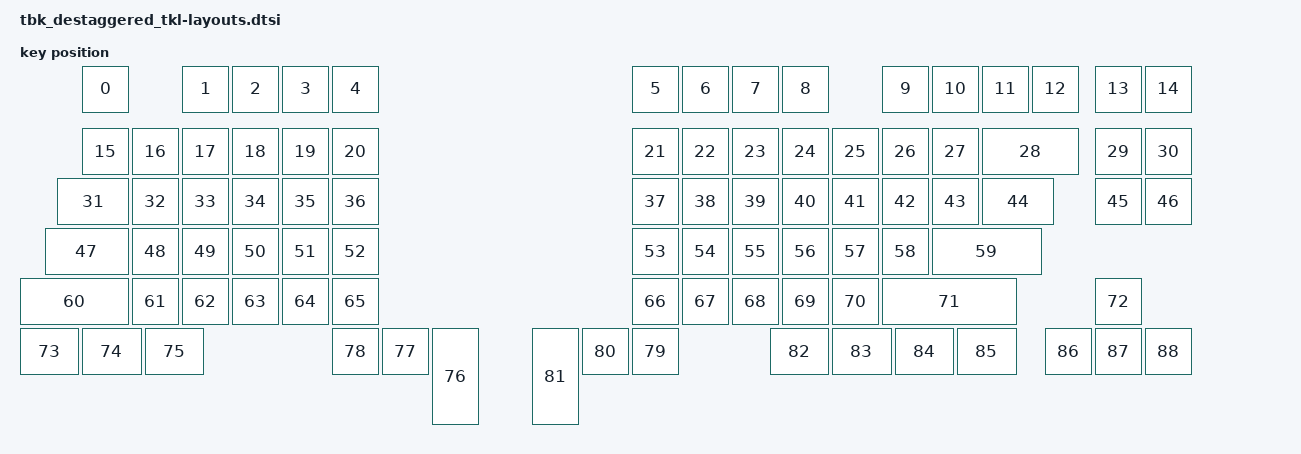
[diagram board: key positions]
#include <physical_layouts.dtsi>

/ {
    physical_layout0: physical_layout_0 {
        compatible = "zmk,physical-layout";
        display-name = "LAYOUT";

        kscan = <&kscan0>;
        transform = <&matrix_transform0>;

        keys  //                     w   h    x    y     rot    rx    ry
            = <&key_physical_attrs 100 100  125    0       0     0     0>
            , <&key_physical_attrs 100 100  325    0       0     0     0>
            , <&key_physical_attrs 100 100  425    0       0     0     0>
            , <&key_physical_attrs 100 100  525    0       0     0     0>
            , <&key_physical_attrs 100 100  625    0       0     0     0>
            , <&key_physical_attrs 100 100 1225    0       0     0     0>
            , <&key_physical_attrs 100 100 1325    0       0     0     0>
            , <&key_physical_attrs 100 100 1425    0       0     0     0>
            , <&key_physical_attrs 100 100 1525    0       0     0     0>
            , <&key_physical_attrs 100 100 1725    0       0     0     0>
            , <&key_physical_attrs 100 100 1825    0       0     0     0>
            , <&key_physical_attrs 100 100 1925    0       0     0     0>
            , <&key_physical_attrs 100 100 2025    0       0     0     0>
            , <&key_physical_attrs 100 100 2150    0       0     0     0>
            , <&key_physical_attrs 100 100 2250    0       0     0     0>
            , <&key_physical_attrs 100 100  125  125       0     0     0>
            , <&key_physical_attrs 100 100  225  125       0     0     0>
            , <&key_physical_attrs 100 100  325  125       0     0     0>
            , <&key_physical_attrs 100 100  425  125       0     0     0>
            , <&key_physical_attrs 100 100  525  125       0     0     0>
            , <&key_physical_attrs 100 100  625  125       0     0     0>
            , <&key_physical_attrs 100 100 1225  125       0     0     0>
            , <&key_physical_attrs 100 100 1325  125       0     0     0>
            , <&key_physical_attrs 100 100 1425  125       0     0     0>
            , <&key_physical_attrs 100 100 1525  125       0     0     0>
            , <&key_physical_attrs 100 100 1625  125       0     0     0>
            , <&key_physical_attrs 100 100 1725  125       0     0     0>
            , <&key_physical_attrs 100 100 1825  125       0     0     0>
            , <&key_physical_attrs 200 100 1925  125       0     0     0>
            , <&key_physical_attrs 100 100 2150  125       0     0     0>
            , <&key_physical_attrs 100 100 2250  125       0     0     0>
            , <&key_physical_attrs 150 100   75  225       0     0     0>
            , <&key_physical_attrs 100 100  225  225       0     0     0>
            , <&key_physical_attrs 100 100  325  225       0     0     0>
            , <&key_physical_attrs 100 100  425  225       0     0     0>
            , <&key_physical_attrs 100 100  525  225       0     0     0>
            , <&key_physical_attrs 100 100  625  225       0     0     0>
            , <&key_physical_attrs 100 100 1225  225       0     0     0>
            , <&key_physical_attrs 100 100 1325  225       0     0     0>
            , <&key_physical_attrs 100 100 1425  225       0     0     0>
            , <&key_physical_attrs 100 100 1525  225       0     0     0>
            , <&key_physical_attrs 100 100 1625  225       0     0     0>
            , <&key_physical_attrs 100 100 1725  225       0     0     0>
            , <&key_physical_attrs 100 100 1825  225       0     0     0>
            , <&key_physical_attrs 150 100 1925  225       0     0     0>
            , <&key_physical_attrs 100 100 2150  225       0     0     0>
            , <&key_physical_attrs 100 100 2250  225       0     0     0>
            , <&key_physical_attrs 175 100   50  325       0     0     0>
            , <&key_physical_attrs 100 100  225  325       0     0     0>
            , <&key_physical_attrs 100 100  325  325       0     0     0>
            , <&key_physical_attrs 100 100  425  325       0     0     0>
            , <&key_physical_attrs 100 100  525  325       0     0     0>
            , <&key_physical_attrs 100 100  625  325       0     0     0>
            , <&key_physical_attrs 100 100 1225  325       0     0     0>
            , <&key_physical_attrs 100 100 1325  325       0     0     0>
            , <&key_physical_attrs 100 100 1425  325       0     0     0>
            , <&key_physical_attrs 100 100 1525  325       0     0     0>
            , <&key_physical_attrs 100 100 1625  325       0     0     0>
            , <&key_physical_attrs 100 100 1725  325       0     0     0>
            , <&key_physical_attrs 225 100 1825  325       0     0     0>
            , <&key_physical_attrs 225 100    0  425       0     0     0>
            , <&key_physical_attrs 100 100  225  425       0     0     0>
            , <&key_physical_attrs 100 100  325  425       0     0     0>
            , <&key_physical_attrs 100 100  425  425       0     0     0>
            , <&key_physical_attrs 100 100  525  425       0     0     0>
            , <&key_physical_attrs 100 100  625  425       0     0     0>
            , <&key_physical_attrs 100 100 1225  425       0     0     0>
            , <&key_physical_attrs 100 100 1325  425       0     0     0>
            , <&key_physical_attrs 100 100 1425  425       0     0     0>
            , <&key_physical_attrs 100 100 1525  425       0     0     0>
            , <&key_physical_attrs 100 100 1625  425       0     0     0>
            , <&key_physical_attrs 275 100 1725  425       0     0     0>
            , <&key_physical_attrs 100 100 2150  425       0     0     0>
            , <&key_physical_attrs 125 100    0  525       0     0     0>
            , <&key_physical_attrs 125 100  125  525       0     0     0>
            , <&key_physical_attrs 125 100  250  525       0     0     0>
            , <&key_physical_attrs 100 200  825  525       0     0     0>
            , <&key_physical_attrs 100 100  725  525       0     0     0>
            , <&key_physical_attrs 100 100  625  525       0     0     0>
            , <&key_physical_attrs 100 100 1225  525       0     0     0>
            , <&key_physical_attrs 100 100 1125  525       0     0     0>
            , <&key_physical_attrs 100 200 1025  525       0     0     0>
            , <&key_physical_attrs 125 100 1500  525       0     0     0>
            , <&key_physical_attrs 125 100 1625  525       0     0     0>
            , <&key_physical_attrs 125 100 1750  525       0     0     0>
            , <&key_physical_attrs 125 100 1875  525       0     0     0>
            , <&key_physical_attrs 100 100 2050  525       0     0     0>
            , <&key_physical_attrs 100 100 2150  525       0     0     0>
            , <&key_physical_attrs 100 100 2250  525       0     0     0>
            ;
    };
};
